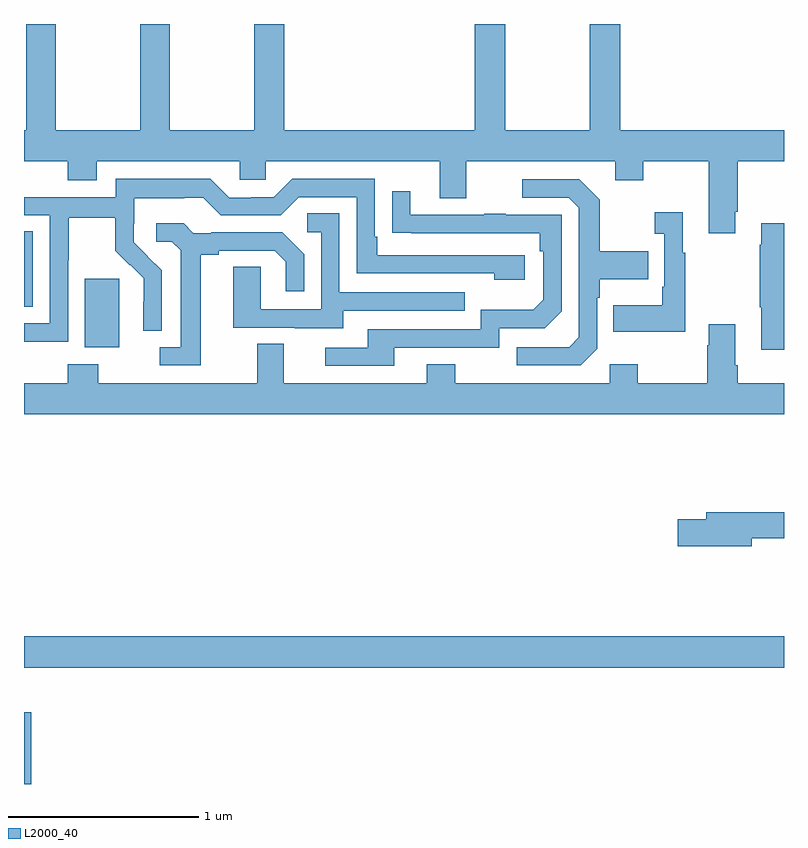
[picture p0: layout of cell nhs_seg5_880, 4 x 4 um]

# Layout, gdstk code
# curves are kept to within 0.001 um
import gdstk
lib = gdstk.Library(unit=1e-6, precision=1e-09)
def R(c, l, rs):  # rectangles x0, y0, x1, y1
    for r in rs: c.add(gdstk.rectangle(r[:2], r[2:], *l))
def P(c, l, *ps):  # polygons
    for p in ps: c.add(gdstk.Polygon(p, *l))
L2000_40 = (2000, 40)

nhs_seg5_880 = lib.new_cell('nhs_seg5_880')
R(nhs_seg5_880, L2000_40, [(167,870.799,167.039,871.177), (167,871.412,171,871.576), (167.321,873.098,167.5,873.459), (167,873.31,167.047,873.707)])
P(nhs_seg5_880, L2000_40, [(170.743,873.811),(170.756,873.811),(170.756,874.076),(171,874.076),(171,874.24),(170.138,874.24),(170.138,874.799),(169.978,874.799),(169.978,874.24),(169.533,874.24),(169.533,874.799),(169.373,874.799),(169.373,874.24),(168.371,874.24),(168.371,874.799),(168.211,874.799),(168.211,874.24),(167.766,874.24),(167.766,874.799),(167.611,874.799),(167.611,874.24),(167.166,874.24),(167.166,874.799),(167.011,874.799),(167.011,874.24),(167,874.24),(167,874.076),(167.231,874.076),(167.231,873.977),(167.383,873.977),(167.383,874.076),(168.135,874.076),(168.135,873.978),(168.273,873.978),(168.273,874.076),(169.187,874.076),(169.187,873.882),(169.327,873.882),(169.327,874.076),(170.111,874.076),(170.111,873.977),(170.259,873.977),(170.259,874.076),(170.603,874.076),(170.603,873.699),(170.743,873.699)],
  [(167.232,873.556),(167.235,873.556),(167.235,873.78),(167.479,873.78),(167.479,873.605),(167.556,873.528),(167.559,873.531),(167.63,873.461),(167.63,873.338),(167.628,873.338),(167.628,873.184),(167.724,873.184),(167.724,873.502),(167.578,873.65),(167.578,873.747),(167.58,873.747),(167.58,873.881),(167.843,873.881),(167.843,873.885),(167.943,873.885),(168.036,873.792),(168.351,873.792),(168.447,873.888),(168.75,873.888),(168.75,873.486),(169.475,873.486),(169.475,873.452),(169.636,873.452),(169.636,873.582),(168.859,873.582),(168.859,873.679),(168.846,873.679),(168.846,873.984),(168.411,873.984),(168.315,873.888),(168.197,873.888),(168.197,873.885),(168.081,873.885),(167.981,873.985),(167.484,873.985),(167.484,873.888),(167,873.888),(167,873.792),(167.136,873.792),(167.136,873.225),(167,873.225),(167,873.127),(167.232,873.127)],
  [(170.016,873.09),(170.016,873.359),(170.029,873.359),(170.029,873.455),(170.285,873.455),(170.285,873.603),(170.029,873.603),(170.029,873.875),(169.923,873.981),(169.623,873.981),(169.623,873.885),(169.866,873.885),(169.92,873.831),(169.92,873.15),(169.869,873.099),(169.593,873.099),(169.593,873.003),(169.929,873.003)],
  [(168.949,873.096),(169.5,873.096),(169.5,873.198),(169.74,873.198),(169.83,873.288),(169.83,873.795),(169.535,873.795),(169.535,873.8),(169.423,873.8),(169.423,873.795),(169.033,873.795),(169.033,873.919),(168.937,873.919),(168.937,873.7),(169.714,873.699),(169.714,873.602),(169.734,873.602),(169.734,873.348),(169.681,873.295),(169.404,873.295),(169.404,873.192),(168.809,873.192),(168.809,873.096),(168.585,873.096),(168.585,873),(168.949,873)],
  [(170.479,873.595),(170.467,873.595),(170.467,873.808),(170.319,873.808),(170.319,873.695),(170.37,873.695),(170.37,873.415),(170.358,873.415),(170.358,873.319),(170.101,873.319),(170.101,873.179),(170.479,873.179)],
  [(168.679,873.291),(169.319,873.291),(169.319,873.387),(168.66,873.387),(168.66,873.803),(168.492,873.803),(168.492,873.702),(168.564,873.702),(168.564,873.297),(168.246,873.297),(168.246,873.521),(168.101,873.521),(168.101,873.201),(168.425,873.201),(168.425,873.197),(168.679,873.197)],
  [(167.929,873.584),(168.025,873.584),(168.025,873.606),(168.32,873.606),(168.377,873.549),(168.377,873.393),(168.474,873.393),(168.474,873.586),(168.358,873.702),(167.986,873.702),(167.986,873.699),(167.892,873.699),(167.84,873.751),(167.697,873.751),(167.697,873.654),(167.778,873.654),(167.825,873.607),(167.825,873.099),(167.715,873.099),(167.715,873.003),(167.929,873.003)],
  [(171,873.751),(170.879,873.751),(170.879,873.638),(170.872,873.638),(170.872,873.307),(170.879,873.307),(170.879,873.084),(171,873.084)],
  [(171,872.908),(170.756,872.908),(170.756,873.004),(170.743,873.004),(170.743,873.22),(170.603,873.22),(170.603,873.107),(170.596,873.107),(170.596,872.908),(170.229,872.908),(170.229,873.007),(170.082,873.007),(170.082,872.908),(169.269,872.908),(169.269,873.007),(169.121,873.007),(169.121,872.908),(168.367,872.908),(168.367,873.116),(168.227,873.116),(168.227,872.908),(167.391,872.908),(167.391,873.007),(167.231,873.007),(167.231,872.908),(167,872.908),(167,872.744),(171,872.744)],
  [(170.83,872.092),(171,872.092),(171,872.228),(170.591,872.228),(170.591,872.192),(170.442,872.192),(170.442,872.05),(170.83,872.05)])

lib.write_gds('nhs_seg5_880.gds')
